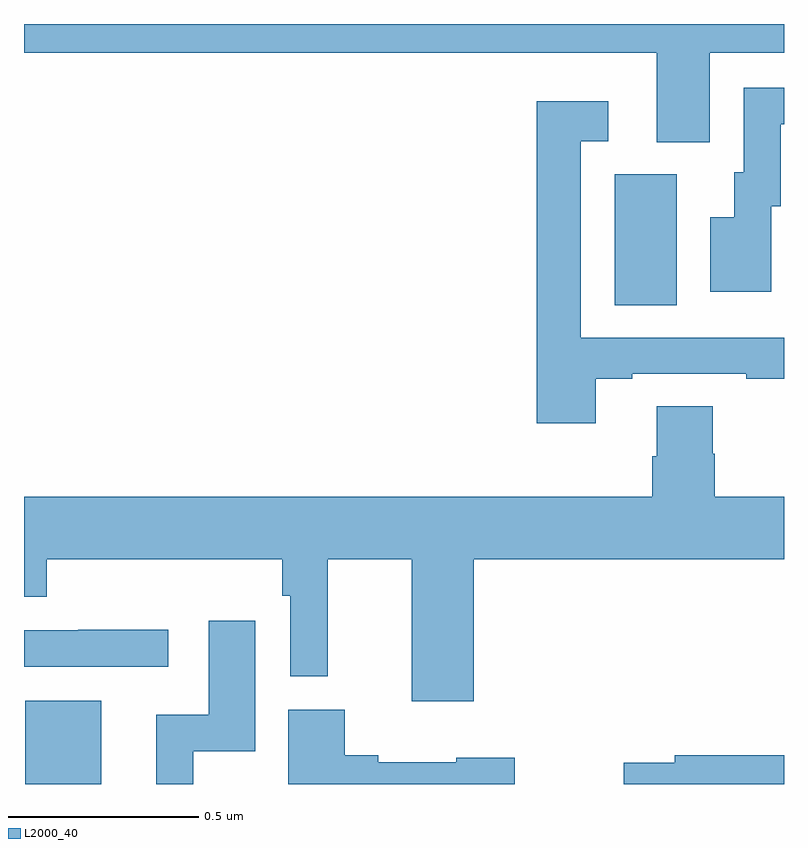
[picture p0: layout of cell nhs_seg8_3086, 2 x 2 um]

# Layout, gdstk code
import gdstk
lib = gdstk.Library(unit=1e-6, precision=1e-09)
def R(c, l, rs):  # rectangles x0, y0, x1, y1
    for r in rs: c.add(gdstk.rectangle(r[:2], r[2:], *l))
def P(c, l, *ps):  # polygons
    for p in ps: c.add(gdstk.Polygon(p, *l))
L2000_40 = (2000, 40)

nhs_seg8_3086 = lib.new_cell('nhs_seg8_3086')
R(nhs_seg8_3086, L2000_40, [(152.003,1123.9,152.203,1124.119), (153.554,1125.16,153.718,1125.504)])
P(nhs_seg8_3086, L2000_40, [(153.805,1125.824),(154,1125.824),(154,1125.9),(152,1125.9),(152,1125.824),(153.665,1125.824),(153.665,1125.589),(153.805,1125.589)],
  [(153.967,1125.42),(153.991,1125.42),(153.991,1125.636),(154,1125.636),(154,1125.732),(153.894,1125.732),(153.894,1125.51),(153.869,1125.51),(153.869,1125.391),(153.806,1125.391),(153.806,1125.195),(153.967,1125.195)],
  [(153.505,1124.967),(153.601,1124.967),(153.601,1124.979),(153.901,1124.979),(153.901,1124.967),(154,1124.967),(154,1125.075),(153.465,1125.075),(153.465,1125.591),(153.538,1125.591),(153.538,1125.697),(153.349,1125.697),(153.349,1124.85),(153.505,1124.85)],
  [(153.184,1124.492),(154,1124.492),(154,1124.656),(153.818,1124.656),(153.818,1124.769),(153.813,1124.769),(153.813,1124.894),(153.665,1124.894),(153.665,1124.762),(153.653,1124.762),(153.653,1124.656),(152,1124.656),(152,1124.393),(152.06,1124.393),(152.06,1124.492),(152.68,1124.492),(152.68,1124.396),(152.7,1124.396),(152.7,1124.184),(152.799,1124.184),(152.799,1124.492),(153.02,1124.492),(153.02,1124.118),(153.184,1124.118)],
  [(152.446,1123.986),(152.608,1123.986),(152.608,1124.329),(152.486,1124.329),(152.486,1124.082),(152.348,1124.082),(152.348,1123.9),(152.446,1123.9)],
  [(152.38,1124.306),(152.143,1124.306),(152.143,1124.304),(152,1124.304),(152,1124.208),(152.38,1124.208)],
  [(153.292,1123.969),(153.138,1123.969),(153.138,1123.957),(152.932,1123.957),(152.932,1123.976),(152.844,1123.976),(152.844,1124.095),(152.696,1124.095),(152.696,1123.9),(153.292,1123.9)],
  [(154,1123.976),(153.712,1123.976),(153.712,1123.956),(153.578,1123.956),(153.578,1123.9),(154,1123.9)])

lib.write_gds('nhs_seg8_3086.gds')
